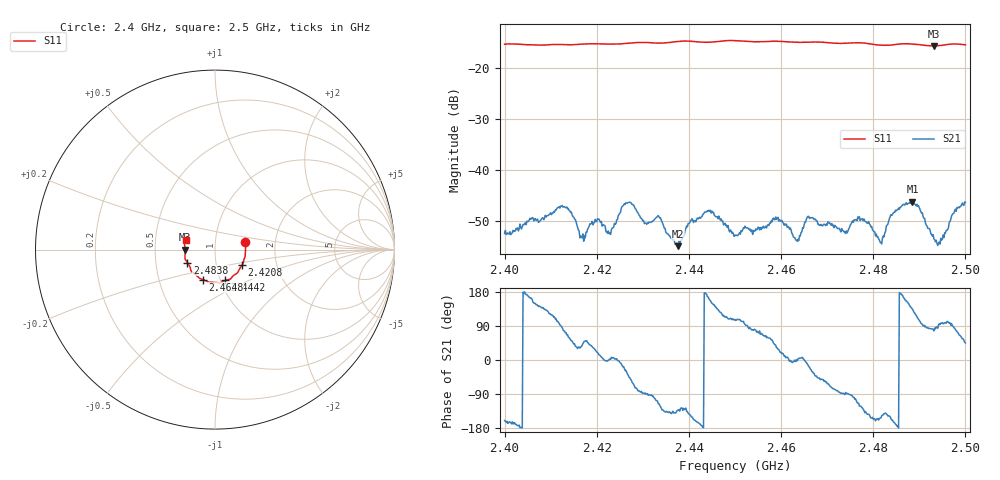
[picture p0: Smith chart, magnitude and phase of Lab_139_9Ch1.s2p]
# Hz S RI R 50
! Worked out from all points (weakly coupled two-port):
!   601 points, 2.4 GHz to 2.5 GHz, reference 50 ohm
!   highest |S21| = -46.27 dB at 2.4885 GHz (marker M1); lowest = -55.0 dB at 2.4377 GHz (marker M2)
!   lowest |S11| = -15.6 dB at 2.4932 GHz (marker M3), VSWR 1.40, Z = 35.8 - j0.0793 ohm
!   |S11| at or under -10 dB: start of sweep to end of sweep
!   S12 and S22 are empty: the file has one direction only
!   S11 on the Smith chart (normalised r, x): 2.4 GHz: 1.40, +0.12; 2.4208 GHz: 1.33, -0.24; 2.4442 GHz: 1.05, -0.37; 2.4648 GHz: 0.83, -0.29; 2.4838 GHz: 0.73, -0.11; 2.5 GHz: 0.72, +0.08
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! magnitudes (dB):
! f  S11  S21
! 2.4 GHz  -15.3  -52.5
! 2.4127 GHz  -15.3  -47.3
! 2.4167 GHz  -15.2  -53.2
! 2.4208 GHz  -15.2  -50.3
! 2.4228 GHz  -15.2  -52.4
! 2.4268 GHz  -15.0  -46.4
! 2.4305 GHz  -14.9  -50.5
! 2.4333 GHz  -15.0  -49.0
! 2.4377 GHz  -14.7  -55.0
! 2.4442 GHz  -14.9  -48.1
! 2.45 GHz  -14.5  -52.8
! 2.4588 GHz  -14.7  -49.3
! 2.4648 GHz  -14.9  -51.5
! 2.4667 GHz  -14.8  -49.4
! 2.474 GHz  -15.1  -52.5
! 2.4772 GHz  -15.0  -50.0
! 2.4815 GHz  -15.4  -54.2
! 2.4833 GHz  -15.5  -50.1
! 2.4838 GHz  -15.4  -48.8
! 2.4885 GHz  -15.2  -46.3
! 2.4932 GHz  -15.6  -53.6
! 2.5 GHz  -15.4  -46.4
